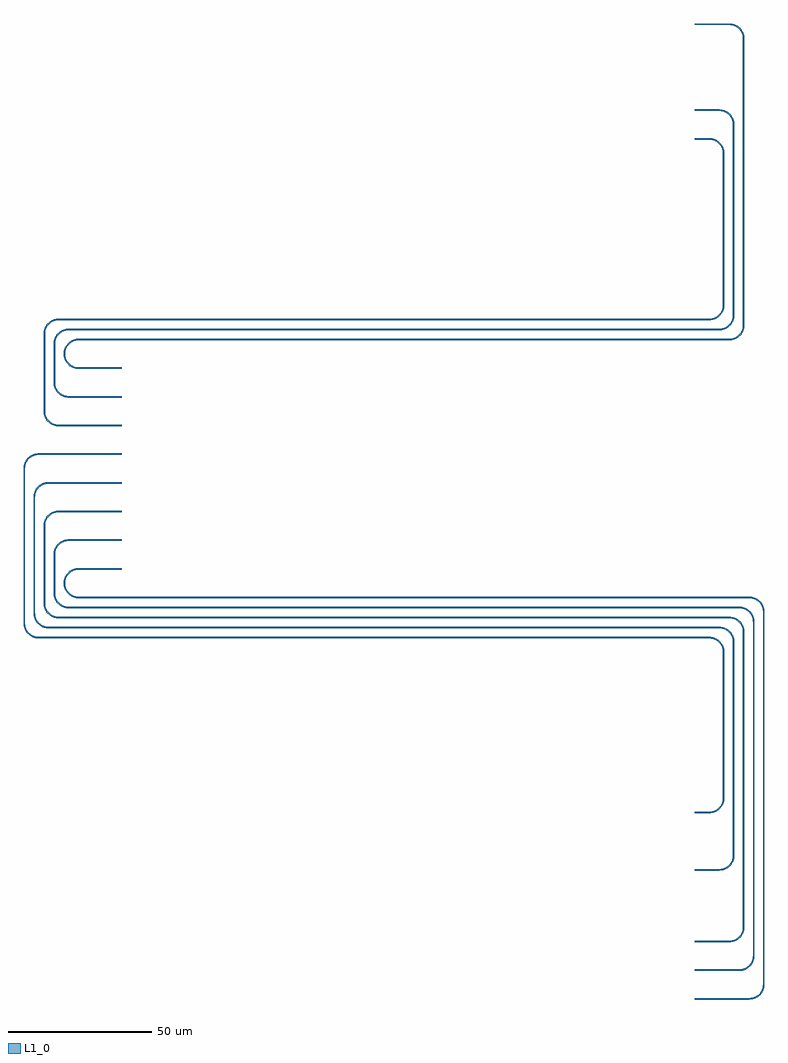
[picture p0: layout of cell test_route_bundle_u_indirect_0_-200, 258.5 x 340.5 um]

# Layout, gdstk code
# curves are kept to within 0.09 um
from math import pi, radians
import gdstk
lib = gdstk.Library(unit=1e-6, precision=1e-09)
def R(c, l, rs):  # rectangles x0, y0, x1, y1
    for r in rs: c.add(gdstk.rectangle(r[:2], r[2:], *l))
def P(c, l, *ps):  # polygons
    for p in ps: c.add(gdstk.Polygon(p, *l))
L1_0 = (1, 0)

bend_circular_gdsfactory = lib.new_cell('bend_circular_gdsfactorypcomponentspbendspbend_circular_0c9d0621')
P(bend_circular_gdsfactory, L1_0, [(0,-0.25),(0,0.25),(0.988,0.354),(1.932,0.661),(2.587,1.016),(3.359,1.641),(3.984,2.413),(4.339,3.068),(4.646,4.012),(4.75,5),(5.25,5),(5.135,3.908),(4.796,2.865),(4.247,1.914),(3.712,1.288),(3.086,0.753),(2.135,0.204),(1.092,-0.135)])

straight_gdsfactorypcomp = lib.new_cell('straight_gdsfactorypcomponentspwaveguidespstraight_L19__04b0d241')
R(straight_gdsfactorypcomp, L1_0, [(0,-0.25,19,0.25)])

c_straight_gdsfactorypcomp = lib.new_cell('straight_gdsfactorypcomponentspwaveguidespstraight_L130_494c334b')
R(c_straight_gdsfactorypcomp, L1_0, [(0,-0.25,130,0.25)])

c_straight_gdsfactorypcomp_ = lib.new_cell('straight_gdsfactorypcomponentspwaveguidespstraight_L234_3811858c')
R(c_straight_gdsfactorypcomp_, L1_0, [(0,-0.25,234,0.25)])

c_straight_gdsfactorypcomp__ = lib.new_cell('straight_gdsfactorypcomponentspwaveguidespstraight_L15__872c1d86')
R(c_straight_gdsfactorypcomp__, L1_0, [(0,-0.25,15,0.25)])

c_straight_gdsfactorypcomp___ = lib.new_cell('straight_gdsfactorypcomponentspwaveguidespstraight_L15p_a1f03c60')
R(c_straight_gdsfactorypcomp___, L1_0, [(0,-0.25,15.5,0.25)])

c_straight_gdsfactorypcomp____ = lib.new_cell('straight_gdsfactorypcomponentspwaveguidespstraight_L116_c2cb3646')
R(c_straight_gdsfactorypcomp____, L1_0, [(0,-0.25,116.5,0.25)])

c_straight_gdsfactorypcomp_____ = lib.new_cell('straight_gdsfactorypcomponentspwaveguidespstraight_L13p_5d7bad5d')
R(c_straight_gdsfactorypcomp_____, L1_0, [(0,-0.25,13.5,0.25)])

c_straight_gdsfactorypcomp______ = lib.new_cell('straight_gdsfactorypcomponentspwaveguidespstraight_L18p_a9db5d26')
R(c_straight_gdsfactorypcomp______, L1_0, [(0,-0.25,18.5,0.25)])

c_straight_gdsfactorypcomp_______ = lib.new_cell('straight_gdsfactorypcomponentspwaveguidespstraight_L12__f3e780f9')
R(c_straight_gdsfactorypcomp_______, L1_0, [(0,-0.25,12,0.25)])

c_straight_gdsfactorypcomp________ = lib.new_cell('straight_gdsfactorypcomponentspwaveguidespstraight_L103_23173387')
R(c_straight_gdsfactorypcomp________, L1_0, [(0,-0.25,103,0.25)])

c_straight_gdsfactorypcomp_________ = lib.new_cell('straight_gdsfactorypcomponentspwaveguidespstraight_L27__2bf0a6ae')
R(c_straight_gdsfactorypcomp_________, L1_0, [(0,-0.25,27,0.25)])

c_straight_gdsfactorypcomp__________ = lib.new_cell('straight_gdsfactorypcomponentspwaveguidespstraight_L22__d5b5a5a4')
R(c_straight_gdsfactorypcomp__________, L1_0, [(0,-0.25,22,0.25)])

c_straight_gdsfactorypcomp___________ = lib.new_cell('straight_gdsfactorypcomponentspwaveguidespstraight_L8p5_29adfe89')
R(c_straight_gdsfactorypcomp___________, L1_0, [(0,-0.25,8.5,0.25)])

c_straight_gdsfactorypcomp____________ = lib.new_cell('straight_gdsfactorypcomponentspwaveguidespstraight_L74p_1a9064db')
R(c_straight_gdsfactorypcomp____________, L1_0, [(0,-0.25,74.5,0.25)])

c_straight_gdsfactorypcomp_____________ = lib.new_cell('straight_gdsfactorypcomponentspwaveguidespstraight_L40p_ae74440f')
R(c_straight_gdsfactorypcomp_____________, L1_0, [(0,-0.25,40.5,0.25)])

c_straight_gdsfactorypcomp______________ = lib.new_cell('straight_gdsfactorypcomponentspwaveguidespstraight_L25p_17c3b0b8')
R(c_straight_gdsfactorypcomp______________, L1_0, [(0,-0.25,25.5,0.25)])

c_straight_gdsfactorypcomp_______________ = lib.new_cell('straight_gdsfactorypcomponentspwaveguidespstraight_L5_N_f5657628')
R(c_straight_gdsfactorypcomp_______________, L1_0, [(0,-0.25,5,0.25)])

c_straight_gdsfactorypcomp________________ = lib.new_cell('straight_gdsfactorypcomponentspwaveguidespstraight_L51__03aaf894')
R(c_straight_gdsfactorypcomp________________, L1_0, [(0,-0.25,51,0.25)])

c_straight_gdsfactorypcomp_________________ = lib.new_cell('straight_gdsfactorypcomponentspwaveguidespstraight_L54__b1e06083')
R(c_straight_gdsfactorypcomp_________________, L1_0, [(0,-0.25,54,0.25)])

c_straight_gdsfactorypcomp__________________ = lib.new_cell('straight_gdsfactorypcomponentspwaveguidespstraight_L29__e516d49d')
R(c_straight_gdsfactorypcomp__________________, L1_0, [(0,-0.25,29,0.25)])

c_straight_gdsfactorypcomp___________________ = lib.new_cell('straight_gdsfactorypcomponentspwaveguidespstraight_L53__a082d625')
R(c_straight_gdsfactorypcomp___________________, L1_0, [(0,-0.25,53,0.25)])

c_straight_gdsfactorypcomp____________________ = lib.new_cell('straight_gdsfactorypcomponentspwaveguidespstraight_L227_84f05189')
R(c_straight_gdsfactorypcomp____________________, L1_0, [(0,-0.25,227,0.25)])

c_straight_gdsfactorypcomp_____________________ = lib.new_cell('straight_gdsfactorypcomponentspwaveguidespstraight_L66p_535f6347')
R(c_straight_gdsfactorypcomp_____________________, L1_0, [(0,-0.25,66.5,0.25)])

c_straight_gdsfactorypcomp______________________ = lib.new_cell('straight_gdsfactorypcomponentspwaveguidespstraight_L100_d6863c55')
R(c_straight_gdsfactorypcomp______________________, L1_0, [(0,-0.25,100,0.25)])

test_route_bundle_u_indi = lib.new_cell('test_route_bundle_u_indirect_0_-200')
test_route_bundle_u_indi.add(gdstk.Reference(bend_circular_gdsfactory, (24,-95), rotation=3*pi/2, x_reflection=True))
test_route_bundle_u_indi.add(gdstk.Reference(straight_gdsfactorypcomp, (0,-100)))
test_route_bundle_u_indi.add(gdstk.Reference(bend_circular_gdsfactory, (19,40), x_reflection=True))
test_route_bundle_u_indi.add(gdstk.Reference(c_straight_gdsfactorypcomp, (24,-95), rotation=pi/2))
test_route_bundle_u_indi.add(gdstk.Reference(bend_circular_gdsfactory, (-220,45), rotation=3*pi/2))
test_route_bundle_u_indi.add(gdstk.Reference(c_straight_gdsfactorypcomp_, (19,40), rotation=pi))
test_route_bundle_u_indi.add(gdstk.Reference(bend_circular_gdsfactory, (-215,50), rotation=pi))
test_route_bundle_u_indi.add(gdstk.Reference(c_straight_gdsfactorypcomp__, (-215,50)))
test_route_bundle_u_indi.add(gdstk.Reference(bend_circular_gdsfactory, (20.5,-85), rotation=3*pi/2, x_reflection=True))
test_route_bundle_u_indi.add(gdstk.Reference(c_straight_gdsfactorypcomp___, (0,-90)))
test_route_bundle_u_indi.add(gdstk.Reference(bend_circular_gdsfactory, (15.5,36.5), x_reflection=True))
test_route_bundle_u_indi.add(gdstk.Reference(c_straight_gdsfactorypcomp____, (20.5,-85), rotation=pi/2))
test_route_bundle_u_indi.add(gdstk.Reference(bend_circular_gdsfactory, (-223.5,41.5), rotation=3*pi/2))
test_route_bundle_u_indi.add(gdstk.Reference(c_straight_gdsfactorypcomp_, (15.5,36.5), rotation=pi))
test_route_bundle_u_indi.add(gdstk.Reference(bend_circular_gdsfactory, (-218.5,60), rotation=pi))
test_route_bundle_u_indi.add(gdstk.Reference(c_straight_gdsfactorypcomp_____, (-223.5,41.5), rotation=pi/2))
test_route_bundle_u_indi.add(gdstk.Reference(c_straight_gdsfactorypcomp______, (-218.5,60)))
test_route_bundle_u_indi.add(gdstk.Reference(bend_circular_gdsfactory, (17,-75), rotation=3*pi/2, x_reflection=True))
test_route_bundle_u_indi.add(gdstk.Reference(c_straight_gdsfactorypcomp_______, (0,-80)))
test_route_bundle_u_indi.add(gdstk.Reference(bend_circular_gdsfactory, (12,33), x_reflection=True))
test_route_bundle_u_indi.add(gdstk.Reference(c_straight_gdsfactorypcomp________, (17,-75), rotation=pi/2))
test_route_bundle_u_indi.add(gdstk.Reference(bend_circular_gdsfactory, (-227,38), rotation=3*pi/2))
test_route_bundle_u_indi.add(gdstk.Reference(c_straight_gdsfactorypcomp_, (12,33), rotation=pi))
test_route_bundle_u_indi.add(gdstk.Reference(bend_circular_gdsfactory, (-222,70), rotation=pi))
test_route_bundle_u_indi.add(gdstk.Reference(c_straight_gdsfactorypcomp_________, (-227,38), rotation=pi/2))
test_route_bundle_u_indi.add(gdstk.Reference(c_straight_gdsfactorypcomp__________, (-222,70)))
test_route_bundle_u_indi.add(gdstk.Reference(bend_circular_gdsfactory, (13.5,-50), rotation=3*pi/2, x_reflection=True))
test_route_bundle_u_indi.add(gdstk.Reference(c_straight_gdsfactorypcomp___________, (0,-55)))
test_route_bundle_u_indi.add(gdstk.Reference(bend_circular_gdsfactory, (8.5,29.5), x_reflection=True))
test_route_bundle_u_indi.add(gdstk.Reference(c_straight_gdsfactorypcomp____________, (13.5,-50), rotation=pi/2))
test_route_bundle_u_indi.add(gdstk.Reference(bend_circular_gdsfactory, (-230.5,34.5), rotation=3*pi/2))
test_route_bundle_u_indi.add(gdstk.Reference(c_straight_gdsfactorypcomp_, (8.5,29.5), rotation=pi))
test_route_bundle_u_indi.add(gdstk.Reference(bend_circular_gdsfactory, (-225.5,80), rotation=pi))
test_route_bundle_u_indi.add(gdstk.Reference(c_straight_gdsfactorypcomp_____________, (-230.5,34.5), rotation=pi/2))
test_route_bundle_u_indi.add(gdstk.Reference(c_straight_gdsfactorypcomp______________, (-225.5,80)))
test_route_bundle_u_indi.add(gdstk.Reference(bend_circular_gdsfactory, (10,-30), rotation=3*pi/2, x_reflection=True))
test_route_bundle_u_indi.add(gdstk.Reference(c_straight_gdsfactorypcomp_______________, (0,-35)))
test_route_bundle_u_indi.add(gdstk.Reference(bend_circular_gdsfactory, (5,26), x_reflection=True))
test_route_bundle_u_indi.add(gdstk.Reference(c_straight_gdsfactorypcomp________________, (10,-30), rotation=pi/2))
test_route_bundle_u_indi.add(gdstk.Reference(bend_circular_gdsfactory, (-234,31), rotation=3*pi/2))
test_route_bundle_u_indi.add(gdstk.Reference(c_straight_gdsfactorypcomp_, (5,26), rotation=pi))
test_route_bundle_u_indi.add(gdstk.Reference(bend_circular_gdsfactory, (-229,90), rotation=pi))
test_route_bundle_u_indi.add(gdstk.Reference(c_straight_gdsfactorypcomp_________________, (-234,31), rotation=pi/2))
test_route_bundle_u_indi.add(gdstk.Reference(c_straight_gdsfactorypcomp__________________, (-229,90)))
test_route_bundle_u_indi.add(gdstk.Reference(bend_circular_gdsfactory, (10,195), rotation=pi/2))
test_route_bundle_u_indi.add(gdstk.Reference(c_straight_gdsfactorypcomp_______________, (0,200)))
test_route_bundle_u_indi.add(gdstk.Reference(bend_circular_gdsfactory, (5,137)))
test_route_bundle_u_indi.add(gdstk.Reference(c_straight_gdsfactorypcomp___________________, (10,195), rotation=3*pi/2))
test_route_bundle_u_indi.add(gdstk.Reference(bend_circular_gdsfactory, (-227,132), rotation=pi/2, x_reflection=True))
test_route_bundle_u_indi.add(gdstk.Reference(c_straight_gdsfactorypcomp____________________, (5,137), rotation=pi))
test_route_bundle_u_indi.add(gdstk.Reference(bend_circular_gdsfactory, (-222,100), rotation=pi, x_reflection=True))
test_route_bundle_u_indi.add(gdstk.Reference(c_straight_gdsfactorypcomp_________, (-227,132), rotation=3*pi/2))
test_route_bundle_u_indi.add(gdstk.Reference(c_straight_gdsfactorypcomp__________, (-222,100)))
test_route_bundle_u_indi.add(gdstk.Reference(bend_circular_gdsfactory, (13.5,205), rotation=pi/2))
test_route_bundle_u_indi.add(gdstk.Reference(c_straight_gdsfactorypcomp___________, (0,210)))
test_route_bundle_u_indi.add(gdstk.Reference(bend_circular_gdsfactory, (8.5,133.5)))
test_route_bundle_u_indi.add(gdstk.Reference(c_straight_gdsfactorypcomp_____________________, (13.5,205), rotation=3*pi/2))
test_route_bundle_u_indi.add(gdstk.Reference(bend_circular_gdsfactory, (-223.5,128.5), rotation=pi/2, x_reflection=True))
test_route_bundle_u_indi.add(gdstk.Reference(c_straight_gdsfactorypcomp____________________, (8.5,133.5), rotation=pi))
test_route_bundle_u_indi.add(gdstk.Reference(bend_circular_gdsfactory, (-218.5,110), rotation=pi, x_reflection=True))
test_route_bundle_u_indi.add(gdstk.Reference(c_straight_gdsfactorypcomp_____, (-223.5,128.5), rotation=3*pi/2))
test_route_bundle_u_indi.add(gdstk.Reference(c_straight_gdsfactorypcomp______, (-218.5,110)))
test_route_bundle_u_indi.add(gdstk.Reference(bend_circular_gdsfactory, (17,235), rotation=pi/2))
test_route_bundle_u_indi.add(gdstk.Reference(c_straight_gdsfactorypcomp_______, (0,240)))
test_route_bundle_u_indi.add(gdstk.Reference(bend_circular_gdsfactory, (12,130)))
test_route_bundle_u_indi.add(gdstk.Reference(c_straight_gdsfactorypcomp______________________, (17,235), rotation=3*pi/2))
test_route_bundle_u_indi.add(gdstk.Reference(bend_circular_gdsfactory, (-220,125), rotation=pi/2, x_reflection=True))
test_route_bundle_u_indi.add(gdstk.Reference(c_straight_gdsfactorypcomp____________________, (12,130), rotation=pi))
test_route_bundle_u_indi.add(gdstk.Reference(bend_circular_gdsfactory, (-215,120), rotation=pi, x_reflection=True))
test_route_bundle_u_indi.add(gdstk.Reference(c_straight_gdsfactorypcomp__, (-215,120)))

lib.write_gds('test_route_bundle_u_indirect_0_-200.gds')
